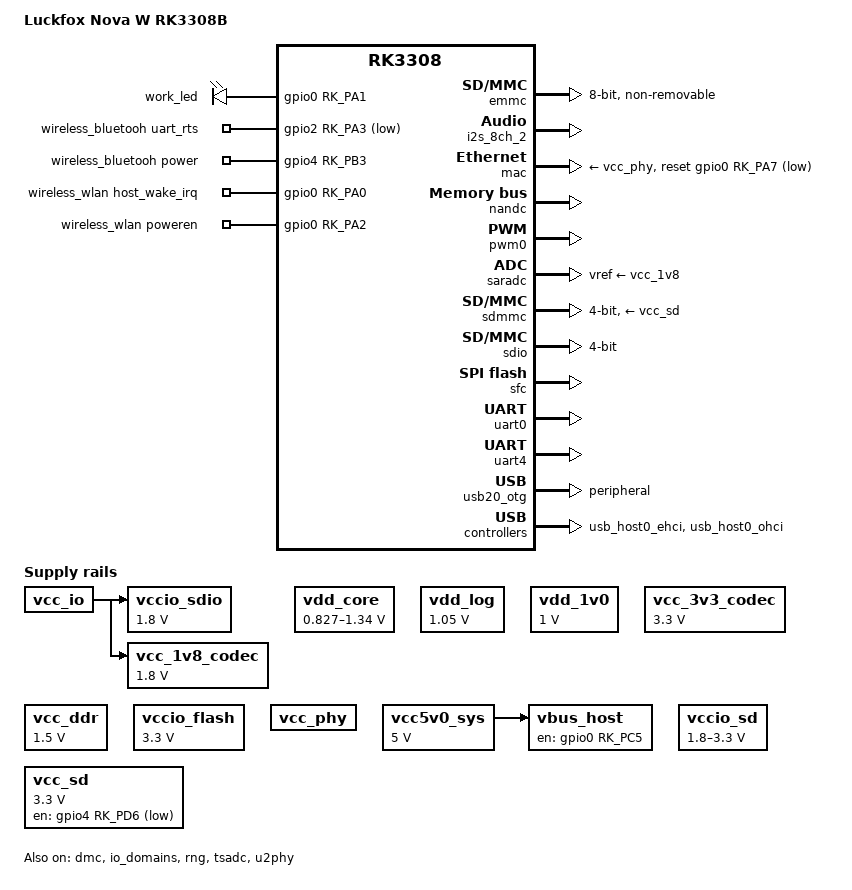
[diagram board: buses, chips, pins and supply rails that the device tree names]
// SPDX-License-Identifier: (GPL-2.0+ OR MIT)
/*
 * Copyright (c) 2018 Fuzhou Rockchip Electronics Co., Ltd
 */

/dts-v1/;
#include <dt-bindings/input/input.h>
#include "rk3308.dtsi"

/ {
	model = "Luckfox Nova W RK3308B";
	compatible = "rockchip,rk3308b-evb-v10", "rockchip,rk3308";

	chosen {
		stdout-path = "serial4:1500000n8";
	};

	// Blinking led near USB-C
	leds: leds {
		compatible = "gpio-leds";
		work_led: work {
			gpios = <&gpio0 RK_PA1 GPIO_ACTIVE_HIGH>;
			linux,default-trigger = "heartbeat";
		};
	};

	vdd_core: vdd-core {
		compatible = "pwm-regulator";
		pwms = <&pwm0 0 5000 1>;
		regulator-name = "vdd_core";
		regulator-min-microvolt = <827000>;
		regulator-max-microvolt = <1340000>;
		regulator-init-microvolt = <1015000>;
		regulator-always-on;
		regulator-boot-on;
		regulator-settling-time-up-us = <250>;
		status = "okay";
	};

	vdd_log: vdd-log {
		compatible = "regulator-fixed";
		regulator-name = "vdd_log";
		regulator-always-on;
		regulator-boot-on;
		regulator-min-microvolt = <1050000>;
		regulator-max-microvolt = <1050000>;
	};

	vdd_1v0: vdd-1v0 {
		compatible = "regulator-fixed";
		regulator-name = "vdd_1v0";
		regulator-always-on;
		regulator-boot-on;
		regulator-min-microvolt = <1000000>;
		regulator-max-microvolt = <1000000>;
	};

	vcc_3v3_codec: vcc_io: vcc-io {
		compatible = "regulator-fixed";
		regulator-name = "vcc_io";
		regulator-always-on;
		regulator-boot-on;
		regulator-min-microvolt = <3300000>;
		regulator-max-microvolt = <3300000>;
	};

	vccio_sdio: vcc_1v8: vcc-1v8 {
		compatible = "regulator-fixed";
		regulator-name = "vcc_1v8";
		regulator-always-on;
		regulator-boot-on;
		regulator-min-microvolt = <1800000>;
		regulator-max-microvolt = <1800000>;
		vin-supply = <&vcc_io>;
	};

	vcc_1v8_codec: vcc-1v8-codec {
		compatible = "regulator-fixed";
		regulator-name = "vcc_1v8_codec";
		regulator-always-on;
		regulator-boot-on;
		regulator-min-microvolt = <1800000>;
		regulator-max-microvolt = <1800000>;
		vin-supply = <&vcc_io>;
	};

	vcc_ddr: vcc-ddr {
		compatible = "regulator-fixed";
		regulator-name = "vcc_ddr";
		regulator-always-on;
		regulator-boot-on;
		regulator-min-microvolt = <1500000>;
		regulator-max-microvolt = <1500000>;
	};

	vccio_flash: vccio-flash {
		compatible = "regulator-fixed";
		regulator-name = "vccio_flash";
		regulator-always-on;
		regulator-boot-on;
		regulator-min-microvolt = <3300000>;
		regulator-max-microvolt = <3300000>;
	};

	vcc_phy: vcc-phy-regulator {
		compatible = "regulator-fixed";
		regulator-name = "vcc_phy";
		regulator-always-on;
		regulator-boot-on;
	};

	vcc5v0_sys: vcc5v0-sys {
		compatible = "regulator-fixed";
		regulator-name = "vcc5v0_sys";
		regulator-always-on;
		regulator-boot-on;
		regulator-min-microvolt = <5000000>;
		regulator-max-microvolt = <5000000>;
	};

	vbus_host: vbus-host-regulator {
		compatible = "regulator-fixed";
		enable-active-high;
		regulator-always-on;
		regulator-boot-on;
		gpio = <&gpio0 RK_PC5 GPIO_ACTIVE_HIGH>;
		pinctrl-names = "default";
		pinctrl-0 = <&usb_drv>;
		regulator-name = "vbus_host";
		vin-supply = <&vcc5v0_sys>;
	};

	vccio_sd: vccio-sd {
		compatible = "regulator-gpio";
		regulator-name = "vccio_sd";
		regulator-min-microvolt = <1800000>;
		regulator-max-microvolt = <3300000>;
		states = <1800000 0x0 3300000 0x1>;
	};

	vcc_sd: vcc-sd {
		compatible = "regulator-fixed";
		gpio = <&gpio4 RK_PD6 GPIO_ACTIVE_LOW>;
		regulator-name = "vcc_sd";
		regulator-min-microvolt = <3300000>;
		regulator-max-microvolt = <3300000>;
	};
	
	wireless_bluetooh: wireless-bluetooth {
		compatible = "bluetooth-platdata";
		uart_rts_gpios = <&gpio2 RK_PA3 GPIO_ACTIVE_LOW>;
		pinctrl-names = "default", "rts_gpio";
		pinctrl-0 = <&uart0_rts>;
		pinctrl-1 = <&uart0_gpios>;
		BT,power_gpio    = <&gpio4 RK_PB3 GPIO_ACTIVE_HIGH>;
		// BT,wake_gpio     = <&gpio4 RK_PB2 GPIO_ACTIVE_HIGH>;
		// BT,wake_host_irq = <&gpio4 RK_PB4 GPIO_ACTIVE_HIGH>;
		status = "okay";
	};

	wireless_wlan: wireless-wlan {
		compatible = "wlan-platdata";
		rockchip,grf = <&grf>;
		wifi_chip_type = "AIC8800DC";
		pinctrl-names = "default";
		pinctrl-0 = <&wifi_irq>, <&wifi_enable_h>;
		WIFI,host_wake_irq = <&gpio0 RK_PA0 GPIO_ACTIVE_HIGH>;
		WIFI,poweren_gpio  = <&gpio0 RK_PA2 GPIO_ACTIVE_HIGH>;
		status = "okay";
	};
};

&cpu0 {
	cpu-supply = <&vdd_core>;
};

&cpu0_opp_table {
	opp-1200000000 {
		status = "okay";
	};
	opp-1296000000 {
		status = "okay";
	};
};

&dmc {
	center-supply = <&vdd_log>;
	status = "okay";
};

&emmc {
	bus-width = <8>;
	cap-mmc-highspeed;
	mmc-hs200-1_8v;
	no-sdio;
	no-sd;
	disable-wp;
	non-removable;
	num-slots = <1>;
	status = "okay";
};

// &fiq_debugger {
// 	rockchip,serial-id = <4>;
// 	status = "okay";
// };

&io_domains {
	status = "okay";

	vccio0-supply = <&vcc_io>;
	vccio1-supply = <&vcc_io>;
	vccio2-supply = <&vcc_io>;
	vccio3-supply = <&vccio_flash>;
	vccio4-supply = <&vccio_sdio>;
	vccio5-supply = <&vcc_io>;
};

&i2s_8ch_2 {
	status = "okay";
};

&mac {
	phy-supply = <&vcc_phy>;
	clock_in_out = "output";
	assigned-clocks = <&cru SCLK_MAC>;
	snps,reset-gpio = <&gpio0 RK_PA7 GPIO_ACTIVE_LOW>;
	snps,reset-active-low;
	snps,reset-delays-us = <0 50000 50000>;
	status = "okay";
};

&nandc {
	status = "okay";
};

&pinctrl {
	pinctrl-names = "default";
	pinctrl-0 = <&rtc_32k>;

	usb {
		usb_drv: usb-drv {
			rockchip,pins = <0 RK_PC5 RK_FUNC_GPIO &pcfg_pull_none>;
		};
	};

	sdio-pwrseq {
		wifi_enable_h: wifi-enable-h {
			rockchip,pins = <0 RK_PA2 RK_FUNC_GPIO &pcfg_pull_none>;
		};
	};

	wireless-wlan {
		wifi_irq: wifi-host-wake-irq {
			rockchip,pins = <0 RK_PA0 RK_FUNC_GPIO &pcfg_pull_none>;
		};
	};

	wireless-bluetooth {
		uart0_gpios: uart0-gpios {
			rockchip,pins = <2 RK_PA3 RK_FUNC_GPIO &pcfg_pull_none>;
		};

		// bt_irq: bt-irq {
		// 	rockchip,pins = <2 RK_PB4 RK_FUNC_GPIO &pcfg_pull_down>;
		// };

		// bt_wake: bt-wake {
		// 	rockchip,pins = <4 RK_PB2 RK_FUNC_GPIO &pcfg_pull_down>;
		// };

		bt_enable_h: bt-enable-h {
			rockchip,pins = <4 RK_PB3 RK_FUNC_GPIO &pcfg_pull_down>;
		};
	};
};

&pwm0 {
	status = "okay";
	pinctrl-names = "active";
	pinctrl-0 = <&pwm0_pin_pull_down>;
};

&rng {
	status = "okay";
};

&rockchip_suspend {
	rockchip,pwm-regulator-config = <
		(0
		| RKPM_PWM_REGULATOR
		)
	>;

	status = "okay";
};

&saradc {
	status = "okay";
	vref-supply = <&vcc_1v8>;
};

&sdmmc {
	max-frequeency = <150000000>;
	supports-sd;
	bus-width = <4>;
	cap-mmc-highspeed;
	cap-sd-highspeed;
	disable-wp;
	num-slots = <1>;
	vmmc-supply = <&vcc_sd>;
	vqmmc-supply = <&vccio_sd>;
	pinctrl-names = "default";
	pinctrl-0 = <&sdmmc_clk &sdmmc_cmd &sdmmc_det &sdmmc_bus4>;
	ard-detect-delay = <800>;
	status = "okay";
};

&sdio {
	max-frequency = <150000000>;
	bus-width = <4>;
	no-sd;
	no-mmc;
	supports-sdio;
	cap-sd-highspeed;
	cap-sdio-irq;
	keep-power-in-suspend;
	sd-uhs-sdr104;
	pinctrl-names = "default";
	status = "okay";
};

&sfc {
	status = "okay";
};

&tsadc {
	rockchip,hw-tshut-mode = <0>; /* tshut mode 0:CRU 1:GPIO */
	rockchip,hw-tshut-polarity = <1>; /* tshut polarity 0:LOW 1:HIGH */
	status = "okay";
};

&u2phy {
	status = "okay";

	u2phy_host: host-port {
		phy-supply = <&vbus_host>;
		status = "okay";
	};

	u2phy_otg: otg-port {
		rockchip,typec-vbus-det;
		rockchip,vbus-always-on;
		status = "okay";
	};
};

&uart0 {
	pinctrl-names = "default";
	pinctrl-0 = <&uart0_xfer &uart0_cts>;
	status = "okay";
};

&uart4 {
	pinctrl-names = "default";
	pinctrl-0 = <&uart4_xfer>;
	status = "okay";
};

&usb20_otg {
	dr_mode = "peripheral";
	status = "okay";
};

&usb_host0_ehci {
	status = "okay";
};

&usb_host0_ohci{
	status = "okay";
};
